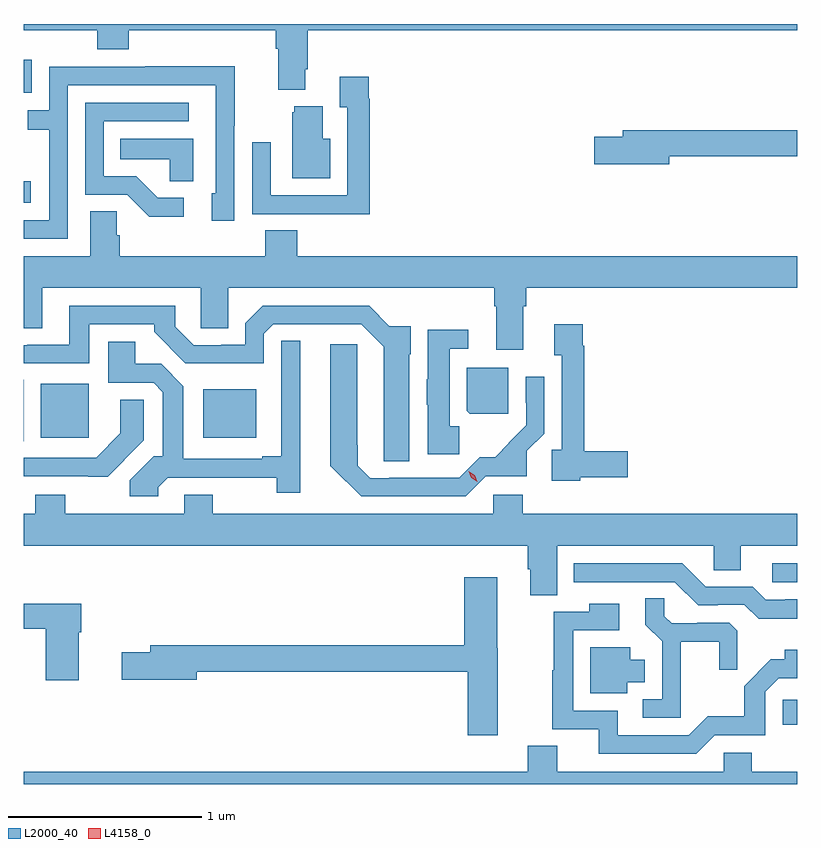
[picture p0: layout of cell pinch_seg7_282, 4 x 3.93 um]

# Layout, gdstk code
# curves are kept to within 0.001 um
import gdstk
lib = gdstk.Library(unit=1e-6, precision=1e-09)
def R(c, l, rs):  # rectangles x0, y0, x1, y1
    for r in rs: c.add(gdstk.rectangle(r[:2], r[2:], *l))
def P(c, l, *ps):  # polygons
    for p in ps: c.add(gdstk.Polygon(p, *l))
L2000_40 = (2000, 40)
L4158_0 = (4158, 0)

pinch_seg7_282 = lib.new_cell('pinch_seg7_282')
R(pinch_seg7_282, L2000_40, [(571.905,1078.278,571.981,1078.407), (571.851,1079.016,571.981,1079.112), (567.981,1079.743,567.982,1080.062), (568.07,1079.762,568.318,1080.04), (568.91,1079.762,569.185,1080.013), (567.981,1080.977,568.018,1081.087), (567.981,1081.545,568.023,1081.714)])
P(pinch_seg7_282, L2000_40, [(569.437,1081.666),(569.45,1081.666),(569.45,1081.868),(571.981,1081.868),(571.981,1081.9),(567.981,1081.9),(567.981,1081.868),(568.361,1081.868),(568.361,1081.769),(568.526,1081.769),(568.526,1081.868),(569.285,1081.868),(569.285,1081.772),(569.297,1081.772),(569.297,1081.559),(569.437,1081.559)],
  [(568.209,1081.584),(568.974,1081.584),(568.974,1081.026),(568.955,1081.026),(568.955,1080.882),(569.07,1080.882),(569.07,1081.375),(569.073,1081.375),(569.073,1081.682),(568.609,1081.682),(568.609,1081.68),(568.113,1081.68),(568.113,1081.455),(568.003,1081.455),(568.003,1081.354),(568.113,1081.354),(568.113,1080.885),(567.981,1080.885),(567.981,1080.789),(568.209,1080.789)],
  [(569.771,1081.514),(569.764,1081.514),(569.764,1081.627),(569.615,1081.627),(569.615,1081.471),(569.655,1081.471),(569.655,1081.014),(569.259,1081.014),(569.259,1081.288),(569.163,1081.288),(569.163,1080.918),(569.479,1080.918),(569.479,1080.917),(569.771,1080.917)],
  [(568.81,1081.002),(568.675,1081.002),(568.564,1081.113),(568.395,1081.113),(568.395,1081.398),(568.834,1081.398),(568.834,1081.494),(568.299,1081.494),(568.299,1081.017),(568.518,1081.017),(568.631,1080.905),(568.81,1080.905)],
  [(569.566,1081.306),(569.527,1081.306),(569.527,1081.474),(569.381,1081.474),(569.381,1081.443),(569.369,1081.443),(569.369,1081.103),(569.566,1081.103)],
  [(571.318,1081.216),(571.981,1081.216),(571.981,1081.352),(571.079,1081.352),(571.079,1081.316),(570.93,1081.316),(570.93,1081.174),(571.318,1081.174)],
  [(568.858,1081.306),(568.48,1081.306),(568.48,1081.202),(568.737,1081.202),(568.737,1081.087),(568.858,1081.087)],
  [(570.565,1080.44),(570.578,1080.44),(570.578,1080.536),(571.981,1080.536),(571.981,1080.7),(569.396,1080.7),(569.396,1080.833),(569.231,1080.833),(569.231,1080.7),(568.478,1080.7),(568.478,1080.809),(568.464,1080.809),(568.464,1080.932),(568.325,1080.932),(568.325,1080.7),(567.981,1080.7),(567.981,1080.328),(568.078,1080.328),(568.078,1080.536),(568.898,1080.536),(568.898,1080.328),(569.038,1080.328),(569.038,1080.536),(570.413,1080.536),(570.413,1080.44),(570.425,1080.44),(570.425,1080.216),(570.565,1080.216)],
  [(569.974,1080.192),(569.983,1080.192),(569.983,1080.339),(569.872,1080.339),(569.767,1080.444),(569.217,1080.444),(569.127,1080.354),(569.127,1080.243),(569.002,1080.243),(569.002,1080.24),(568.86,1080.24),(568.766,1080.335),(568.766,1080.444),(568.217,1080.444),(568.217,1080.243),(568,1080.243),(568,1080.24),(567.981,1080.24),(567.981,1080.147),(568.321,1080.147),(568.321,1080.348),(568.656,1080.348),(568.656,1080.309),(568.818,1080.147),(569.223,1080.146),(569.223,1080.3),(569.271,1080.348),(569.727,1080.348),(569.843,1080.232),(569.843,1079.641),(569.974,1079.641)],
  [(570.858,1079.558),(571.105,1079.558),(571.105,1079.693),(570.88,1079.693),(570.88,1079.847),(570.878,1079.847),(570.878,1080.236),(570.871,1080.236),(570.871,1080.349),(570.725,1080.349),(570.725,1080.188),(570.762,1080.188),(570.762,1079.7),(570.71,1079.7),(570.71,1079.54),(570.858,1079.54)],
  [(570.232,1079.82),(570.184,1079.82),(570.184,1080.222),(570.28,1080.222),(570.28,1080.32),(570.071,1080.32),(570.071,1080.063),(570.065,1080.063),(570.065,1079.931),(570.071,1079.931),(570.071,1079.675),(570.232,1079.675)],
  [(568.678,1079.507),(568.726,1079.556),(569.29,1079.555),(569.29,1079.478),(569.41,1079.478),(569.41,1080.263),(569.313,1080.263),(569.313,1079.665),(569.216,1079.665),(569.216,1079.652),(568.807,1079.652),(568.807,1080.029),(568.692,1080.144),(568.558,1080.144),(568.558,1080.259),(568.418,1080.259),(568.418,1080.045),(568.653,1080.045),(568.701,1079.997),(568.7,1079.665),(568.654,1079.665),(568.53,1079.541),(568.53,1079.46),(568.678,1079.46)],
  [(570.369,1079.562),(570.583,1079.562),(570.583,1079.694),(570.672,1079.783),(570.672,1080.076),(570.576,1080.076),(570.576,1079.942),(570.579,1079.942),(570.579,1079.826),(570.49,1079.737),(570.492,1079.735),(570.419,1079.662),(570.34,1079.662),(570.234,1079.556),(569.872,1079.556),(569.872,1079.553),(569.772,1079.553),(569.708,1079.618),(569.707,1080.244),(569.567,1080.244),(569.567,1079.613),(569.57,1079.613),(569.647,1079.536),(569.648,1079.537),(569.726,1079.46),(570.267,1079.46)],
  [(570.487,1080.124),(570.272,1080.124),(570.272,1079.901),(570.288,1079.885),(570.487,1079.885)],
  [(568.501,1079.644),(568.5,1079.645),(568.603,1079.748),(568.602,1079.959),(568.482,1079.959),(568.482,1079.784),(568.356,1079.658),(567.981,1079.658),(567.981,1079.562),(568.417,1079.561)],
  [(570.739,1079.204),(571.548,1079.204),(571.548,1079.077),(571.687,1079.077),(571.687,1079.204),(571.981,1079.204),(571.981,1079.368),(570.56,1079.368),(570.56,1079.466),(570.408,1079.466),(570.408,1079.368),(568.959,1079.368),(568.959,1079.467),(568.811,1079.467),(568.811,1079.368),(568.197,1079.368),(568.197,1079.467),(568.042,1079.467),(568.042,1079.368),(567.981,1079.368),(567.981,1079.204),(570.587,1079.204),(570.587,1079.082),(570.599,1079.082),(570.599,1078.948),(570.739,1078.948)],
  [(571.981,1078.926),(571.918,1078.926),(571.918,1078.923),(571.818,1078.923),(571.749,1078.992),(571.506,1078.992),(571.386,1079.112),(570.824,1079.112),(570.824,1079.016),(571.347,1079.016),(571.467,1078.896),(571.568,1078.896),(571.568,1078.899),(571.707,1078.899),(571.78,1078.826),(571.981,1078.826)],
  [(570.432,1078.674),(570.43,1078.674),(570.43,1079.041),(570.26,1079.041),(570.26,1078.688),(568.637,1078.688),(568.637,1078.652),(568.488,1078.652),(568.488,1078.51),(568.876,1078.51),(568.876,1078.552),(570.278,1078.552),(570.278,1078.224),(570.432,1078.224)],
  [(571.379,1078.706),(571.576,1078.706),(571.576,1078.563),(571.67,1078.563),(571.67,1078.765),(571.629,1078.806),(571.464,1078.806),(571.464,1078.803),(571.33,1078.803),(571.293,1078.84),(571.293,1078.931),(571.195,1078.931),(571.195,1078.795),(571.281,1078.709),(571.281,1078.41),(571.182,1078.41),(571.182,1078.314),(571.379,1078.314)],
  [(568.267,1078.757),(568.28,1078.757),(568.28,1078.903),(567.981,1078.903),(567.981,1078.774),(568.097,1078.774),(568.097,1078.509),(568.267,1078.509)],
  [(571.554,1078.224),(571.815,1078.224),(571.815,1078.449),(571.884,1078.518),(571.981,1078.518),(571.981,1078.666),(571.914,1078.666),(571.914,1078.616),(571.844,1078.616),(571.707,1078.478),(571.707,1078.323),(571.518,1078.323),(571.419,1078.224),(571.051,1078.224),(571.051,1078.35),(570.822,1078.35),(570.822,1078.767),(571.06,1078.767),(571.06,1078.903),(570.904,1078.903),(570.904,1078.863),(570.721,1078.863),(570.721,1078.559),(570.714,1078.559),(570.714,1078.254),(570.953,1078.254),(570.953,1078.128),(571.458,1078.128)],
  [(571.102,1078.499),(571.192,1078.499),(571.192,1078.615),(571.117,1078.615),(571.117,1078.678),(570.911,1078.678),(570.911,1078.442),(571.102,1078.442)],
  [(571.981,1078.036),(571.746,1078.036),(571.746,1078.134),(571.599,1078.134),(571.599,1078.036),(570.739,1078.036),(570.739,1078.169),(570.587,1078.169),(570.587,1078.036),(567.981,1078.036),(567.981,1077.972),(571.981,1077.972)])
P(pinch_seg7_282, L4158_0, [(570.327,1079.535),(570.296,1079.555),(570.281,1079.588),(570.281,1079.588),(570.282,1079.588),(570.312,1079.568),(570.327,1079.535),(570.327,1079.535)])

lib.write_gds('pinch_seg7_282.gds')
